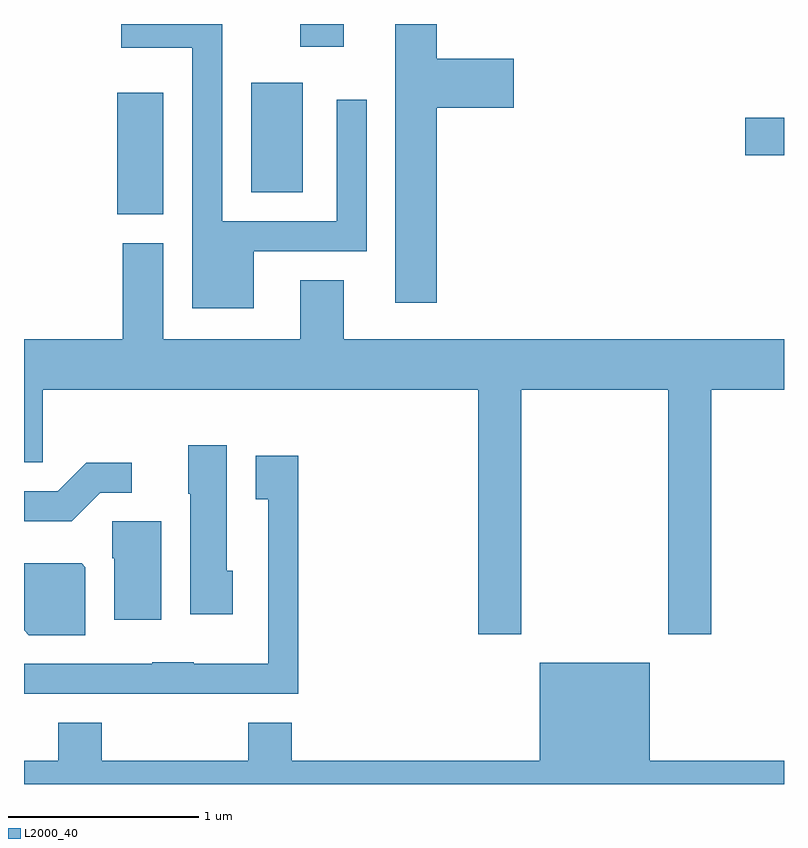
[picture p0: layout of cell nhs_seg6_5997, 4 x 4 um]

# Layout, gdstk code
import gdstk
lib = gdstk.Library(unit=1e-6, precision=1e-09)
def R(c, l, rs):  # rectangles x0, y0, x1, y1
    for r in rs: c.add(gdstk.rectangle(r[:2], r[2:], *l))
def P(c, l, *ps):  # polygons
    for p in ps: c.add(gdstk.Polygon(p, *l))
L2000_40 = (2000, 40)

nhs_seg6_5997 = lib.new_cell('nhs_seg6_5997')
R(nhs_seg6_5997, L2000_40, [(368.101,1573.161,368.344,1573.799), (368.806,1573.276,369.079,1573.854), (371.406,1573.471,371.611,1573.669), (369.066,1574.041,369.294,1574.162)])
P(nhs_seg6_5997, L2000_40, [(369.784,1573.721),(370.189,1573.721),(370.189,1573.979),(369.784,1573.979),(369.784,1574.162),(369.566,1574.162),(369.566,1572.696),(369.784,1572.696)],
  [(368.819,1572.966),(369.414,1572.966),(369.414,1573.763),(369.256,1573.763),(369.256,1573.124),(368.654,1573.124),(368.654,1574.162),(368.123,1574.162),(368.123,1574.036),(368.496,1574.036),(368.496,1572.666),(368.819,1572.666)],
  [(370.229,1572.236),(371.001,1572.236),(371.001,1570.951),(371.229,1570.951),(371.229,1572.236),(371.611,1572.236),(371.611,1572.504),(369.294,1572.504),(369.294,1572.814),(369.066,1572.814),(369.066,1572.504),(368.344,1572.504),(368.344,1573.009),(368.131,1573.009),(368.131,1572.504),(367.611,1572.504),(367.611,1571.856),(367.709,1571.856),(367.709,1572.236),(370.001,1572.236),(370.001,1570.951),(370.229,1570.951)],
  [(368.709,1571.284),(368.679,1571.284),(368.679,1571.944),(368.476,1571.944),(368.476,1571.69),(368.486,1571.69),(368.486,1571.056),(368.709,1571.056)],
  [(369.054,1571.889),(368.831,1571.889),(368.831,1571.661),(368.896,1571.661),(368.896,1570.794),(368.505,1570.794),(368.505,1570.804),(368.285,1570.804),(368.285,1570.794),(367.611,1570.794),(367.611,1570.636),(369.054,1570.636)],
  [(368.012,1571.696),(368.178,1571.696),(368.178,1571.854),(367.939,1571.854),(367.789,1571.704),(367.611,1571.704),(367.611,1571.546),(367.862,1571.546)],
  [(368.334,1571.544),(368.076,1571.544),(368.076,1571.35),(368.086,1571.35),(368.086,1571.026),(368.334,1571.026)],
  [(367.934,1571.304),(367.914,1571.324),(367.611,1571.324),(367.611,1570.972),(367.637,1570.946),(367.934,1570.946)],
  [(371.611,1570.284),(370.904,1570.284),(370.904,1570.799),(370.326,1570.799),(370.326,1570.284),(369.019,1570.284),(369.019,1570.484),(368.791,1570.484),(368.791,1570.284),(368.019,1570.284),(368.019,1570.484),(367.791,1570.484),(367.791,1570.284),(367.611,1570.284),(367.611,1570.162),(371.611,1570.162)])

lib.write_gds('nhs_seg6_5997.gds')
